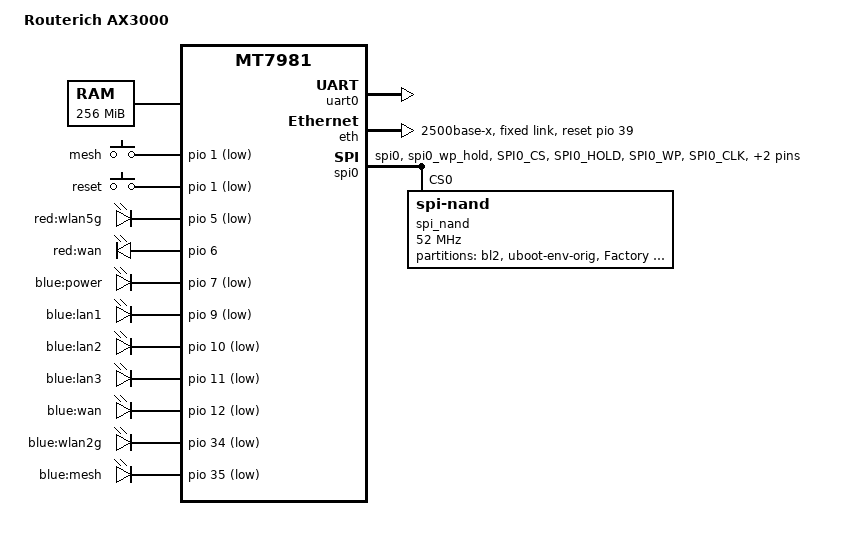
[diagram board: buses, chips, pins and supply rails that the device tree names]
// SPDX-License-Identifier: GPL-2.0
/*
 * Copyright (c) 2022 MediaTek Inc.
 * Author: Sam Shih <sam.shih@mediatek.com>
 */

/dts-v1/;
#include "mt7981.dtsi"
#include <dt-bindings/gpio/gpio.h>
#include <dt-bindings/input/linux-event-codes.h>

/ {
	#address-cells = <1>;
	#size-cells = <1>;
	model = "Routerich AX3000";
	compatible = "routerich,ax3000", "mediatek,mt7981";

	chosen {
		stdout-path = &uart0;
		tick-timer = &timer0;
	};

	memory@40000000 {
		device_type = "memory";
		reg = <0x40000000 0x10000000>;
	};

	keys {
		compatible = "gpio-keys";

		button-0 {
			label = "mesh";
			linux,code = <BTN_0>;
			gpios = <&pio 1 GPIO_ACTIVE_LOW>;
		};

		button-1 {
			label = "reset";
			linux,code = <KEY_RESTART>;
			gpios = <&pio 1 GPIO_ACTIVE_LOW>;
		};
	};

	leds {
		compatible = "gpio-leds";

		led-0 {
			label = "red:wlan5g";
			gpios = <&pio 5 GPIO_ACTIVE_LOW>;
		};

		led-1 {
			label = "red:wan";
			gpios = <&pio 6 GPIO_ACTIVE_HIGH>;
		};

		led-2 {
			label = "blue:power";
			gpios = <&pio 7 GPIO_ACTIVE_LOW>;
		};

		led-3 {
			label = "blue:lan1";
			gpios = <&pio 9 GPIO_ACTIVE_LOW>;
		};

		led-4 {
			label = "blue:lan2";
			gpios = <&pio 10 GPIO_ACTIVE_LOW>;
		};

		led-5 {
			label = "blue:lan3";
			gpios = <&pio 11 GPIO_ACTIVE_LOW>;
		};

		led-6 {
			label = "blue:wan";
			gpios = <&pio 12 GPIO_ACTIVE_LOW>;
		};

		led-7 {
			label = "blue:wlan2g";
			gpios = <&pio 34 GPIO_ACTIVE_LOW>;
		};

		led-8 {
			label = "blue:mesh";
			gpios = <&pio 35 GPIO_ACTIVE_LOW>;
		};
	};
};

&uart0 {
	mediatek,force-highspeed;
	status = "okay";
};

&eth {
	status = "okay";
	mediatek,gmac-id = <0>;
	phy-mode = "2500base-x";
	mediatek,switch = "mt7531";
	reset-gpios = <&pio 39 GPIO_ACTIVE_HIGH>;

	fixed-link {
		speed = <2500>;
		full-duplex;
	};
};

&pio {
	spi_flash_pins: spi0-pins-func-1 {
		mux {
			function = "flash";
			groups = "spi0", "spi0_wp_hold";
		};

		conf-pu {
			pins = "SPI0_CS", "SPI0_HOLD", "SPI0_WP";
			drive-strength = <MTK_DRIVE_8mA>;
			bias-pull-up = <MTK_PUPD_SET_R1R0_11>;
		};

		conf-pd {
			pins = "SPI0_CLK", "SPI0_MOSI", "SPI0_MISO";
			drive-strength = <MTK_DRIVE_8mA>;
			bias-pull-down = <MTK_PUPD_SET_R1R0_11>;
		};
	};
};

&spi0 {
	#address-cells = <1>;
	#size-cells = <0>;
	pinctrl-names = "default";
	pinctrl-0 = <&spi_flash_pins>;
	status = "okay";
	must_tx;
	enhance_timing;
	dma_ext;
	ipm_design;
	support_quad;
	tick_dly = <2>;
	sample_sel = <0>;

	spi_nand@0 {
		compatible = "spi-nand";
		reg = <0>;
		spi-max-frequency = <52000000>;

		partitions {
			compatible = "fixed-partitions";
			#address-cells = <1>;
			#size-cells = <1>;

			partition@0 {
				label = "bl2";
				reg = <0x0 0x100000>;
			};

			partition@100000 {
				label = "uboot-env-orig";
				reg = <0x100000 0x80000>;
			};

			partition@160000 {
				label = "Factory";
				reg = <0x180000 0x200000>;
			};

			partition@380000 {
				label = "fip";
				reg = <0x380000 0x200000>;
			};

			partition@580000 {
				label = "ubi";
				reg = <0x580000 0x7a80000>;
			};
		};
	};
};

&watchdog {
	status = "disabled";
};
